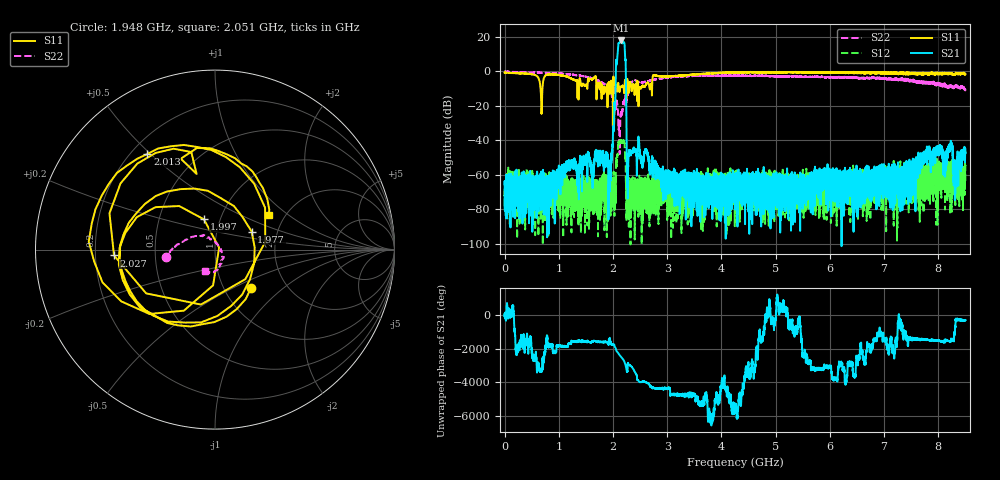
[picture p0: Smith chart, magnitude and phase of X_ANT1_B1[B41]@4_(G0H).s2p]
#  HZ  S  RI  R  50.00
! Rohde & Schwarz Vector Network Analyzer
! Rohde-Schwarz,ZNBT8-20Port,1318700624101681,3.50
! Created: UTC 7/15/2025, 2:11:19 PM
! freq[Hz]  re:S1010  im:S1010  re:S0410  im:S0410  re:S1004  im:S1004  re:S44  im:S44
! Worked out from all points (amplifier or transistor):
!   8500 points, 1 MHz to 8.5 GHz, reference 50 ohm
!   highest |S21| = 17.9 dB at 2.144 GHz (marker M1)
!   |S21| within 3 dB of that: 2.095 GHz to 2.215 GHz (119.5 MHz wide, 5.55 % of centre)
!   unconditionally stable (mu >= 1): start of sweep to end of sweep
!   at 1.417 GHz: K = 266929.97, MAG = -52.7 dB, |S12| = -66.0 dB
!   at 4.251 GHz: K = 228672.15, MAG = -56.2 dB, |S12| = -69.4 dB
!   at 8.5 GHz: K = 55643.82, MAG = -42.0 dB, |S12| = -64.2 dB
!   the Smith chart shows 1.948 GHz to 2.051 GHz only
!   S11 on the Smith chart (normalised r, x): 1.948 GHz: 1.34, -0.62; 1.977 GHz: 1.47, +0.31; 1.997 GHz: 0.84, +0.29; 2.013 GHz: 0.26, +0.49; 2.027 GHz: 0.28, -0.03; 2.051 GHz: 1.66, +0.73
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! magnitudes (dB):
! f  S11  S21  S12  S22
! 1 MHz  -0.9  -65.8  -78.3  -0.2
! 69 MHz  -1.0  -72.0  -72.1  -0.3
! 1.418 GHz  -8.5  -55.5  -62.1  -2.7
! 1.948 GHz  -10.7  -52.8  -71.9  -11.2
! 1.977 GHz  -12.9  -49.3  -73.1  -14.0
! 1.997 GHz  -14.9  -41.9  -77.8  -18.3
! 2.013 GHz  -3.7  -34.0  -61.3  -29.3
! 2.027 GHz  -5.0  -18.0  -84.0  -23.4
! 2.051 GHz  -9.0  -4.1  -60.9  -17.6
! 2.093 GHz  -7.2  14.0  -44.2  -24.3
! 2.144 GHz  -8.8  17.9  -40.2  -25.0
! 2.205 GHz  -12.2  16.5  -41.3  -17.4
! 2.292 GHz  -11.2  -49.0  -72.7  -11.5
! 2.613 GHz  -7.5  -45.3  -73.9  -5.9
! 2.834 GHz  -2.8  -58.5  -66.8  -4.4
! 4.251 GHz  -0.6  -68.6  -69.4  -2.6
! 5.667 GHz  -0.4  -64.9  -69.5  -3.1
! 7.084 GHz  -0.9  -68.9  -61.3  -4.3
! 7.804 GHz  -1.3  -46.5  -63.4  -6.3
! 8.223 GHz  -1.3  -42.7  -58.0  -8.2
! 8.312 GHz  -1.6  -65.7  -56.6  -9.2
! 8.5 GHz  -1.7  -47.2  -64.2  -10.5
